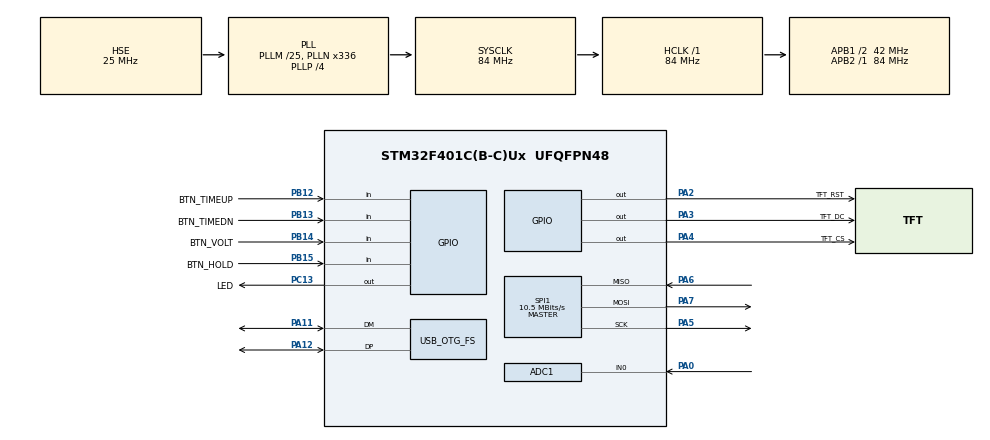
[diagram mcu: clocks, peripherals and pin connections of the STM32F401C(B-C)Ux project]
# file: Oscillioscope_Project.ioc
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ADC1.Channel-0\#ChannelRegularConversion=ADC_CHANNEL_0
ADC1.ContinuousConvMode=DISABLE
ADC1.DMAContinuousRequests=ENABLE
ADC1.ExternalTrigConv=ADC_EXTERNALTRIGCONV_T2_TRGO
ADC1.NbrOfConversionFlag=1
ADC1.Rank-0\#ChannelRegularConversion=1
ADC1.SamplingTime-0\#ChannelRegularConversion=ADC_SAMPLETIME_84CYCLES
ADC1.master=1
Dma.ADC1.0.Direction=DMA_PERIPH_TO_MEMORY
Dma.ADC1.0.FIFOMode=DMA_FIFOMODE_DISABLE
Dma.ADC1.0.Instance=DMA2_Stream0
Dma.ADC1.0.MemDataAlignment=DMA_MDATAALIGN_HALFWORD
Dma.ADC1.0.MemInc=DMA_MINC_ENABLE
Dma.ADC1.0.Mode=DMA_CIRCULAR
Dma.ADC1.0.PeriphDataAlignment=DMA_PDATAALIGN_HALFWORD
Dma.ADC1.0.PeriphInc=DMA_PINC_DISABLE
Dma.ADC1.0.Priority=DMA_PRIORITY_LOW
Dma.Request0=ADC1
Mcu.Family=STM32F4
Mcu.Name=STM32F401C(B-C)Ux
Mcu.Package=UFQFPN48
NVIC.DMA2_Stream0_IRQn=true\:0\:0\:false\:false\:true\:false\:true\:true
NVIC.OTG_FS_IRQn=true\:0\:0\:false\:false\:true\:false\:true\:true
NVIC.PriorityGroup=NVIC_PRIORITYGROUP_4
PA0-WKUP.Signal=ADCx_IN0
PA11.Mode=Device_Only
PA11.Signal=USB_OTG_FS_DM
PA12.Mode=Device_Only
PA12.Signal=USB_OTG_FS_DP
PA13.Mode=Serial_Wire
PA13.Signal=SYS_JTMS-SWDIO
PA14.Mode=Serial_Wire
PA14.Signal=SYS_JTCK-SWCLK
PA2.GPIO_Label=TFT_RST
PA2.PinState=GPIO_PIN_RESET
PA2.Signal=GPIO_Output
PA3.GPIO_Label=TFT_DC
PA3.Signal=GPIO_Output
PA4.GPIO_Label=TFT_CS
PA4.Signal=GPIO_Output
PA5.Mode=Full_Duplex_Master
PA5.Signal=SPI1_SCK
PA6.Mode=Full_Duplex_Master
PA6.Signal=SPI1_MISO
PA7.Mode=Full_Duplex_Master
PA7.Signal=SPI1_MOSI
PB12.GPIO_Label=BTN_TIMEUP
PB12.GPIO_PuPd=GPIO_PULLUP
PB12.Signal=GPIO_Input
PB13.GPIO_Label=BTN_TIMEDN
PB13.GPIO_PuPd=GPIO_PULLUP
PB13.Signal=GPIO_Input
PB14.GPIO_Label=BTN_VOLT
PB14.GPIO_PuPd=GPIO_PULLUP
PB14.Signal=GPIO_Input
PB15.GPIO_Label=BTN_HOLD
PB15.GPIO_PuPd=GPIO_PULLUP
PB15.Signal=GPIO_Input
PC13-ANTI_TAMP.GPIO_Label=LED
PC13-ANTI_TAMP.Signal=GPIO_Output
PH0\ -\ OSC_IN.Mode=HSE-External-Oscillator
PH0\ -\ OSC_IN.Signal=RCC_OSC_IN
PH1\ -\ OSC_OUT.Mode=HSE-External-Oscillator
PH1\ -\ OSC_OUT.Signal=RCC_OSC_OUT
ProjectManager.HeapSize=0x200
ProjectManager.StackSize=0x400
ProjectManager.TargetToolchain=STM32CubeIDE
RCC.48MHZClocksFreq_Value=48000000
RCC.AHBFreq_Value=84000000
RCC.APB1CLKDivider=RCC_HCLK_DIV2
RCC.APB1Freq_Value=42000000
RCC.APB1TimFreq_Value=84000000
RCC.APB2Freq_Value=84000000
RCC.APB2TimFreq_Value=84000000
RCC.CortexFreq_Value=84000000
RCC.HCLKFreq_Value=84000000
RCC.HSE_VALUE=25000000
RCC.HSI_VALUE=16000000
RCC.LSE_VALUE=32768
RCC.PLLM=25
RCC.PLLN=336
RCC.PLLP=RCC_PLLP_DIV4
RCC.PLLQ=7
RCC.SYSCLKFreq_VALUE=84000000
RCC.SYSCLKSource=RCC_SYSCLKSOURCE_PLLCLK
RCC.VCOOutputFreq_Value=336000000
SH.ADCx_IN0.0=ADC1_IN0,IN0
SPI1.BaudRatePrescaler=SPI_BAUDRATEPRESCALER_8
SPI1.CalculateBaudRate=10.5 MBits/s
SPI1.Direction=SPI_DIRECTION_2LINES
SPI1.Mode=SPI_MODE_MASTER
SPI1.VirtualType=VM_MASTER
TIM2.TIM_MasterOutputTrigger=TIM_TRGO_UPDATE
USB_DEVICE.CLASS_NAME_FS=CDC
USB_DEVICE.VirtualMode=Cdc
USB_DEVICE.VirtualModeFS=Cdc_FS
USB_OTG_FS.VirtualMode=Device_Only
VP_TIM2_VS_ClockSourceINT.Mode=Internal
VP_USB_DEVICE_VS_USB_DEVICE_CDC_FS.Mode=CDC_FS
board=custom

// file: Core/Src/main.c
/* USER CODE BEGIN Header */
/**
  ******************************************************************************
  * @file           : main.c
  * @brief          : Main program body
  ******************************************************************************
  */
/* USER CODE END Header */
#include "main.h"
#include "usb_device.h"

/* USER CODE BEGIN Includes */
#include "st7789.h"
#include "dso.h"
#include "dso_ui.h"   /* NEW: menu / analyzer / signal-memory front-end */
/* USER CODE END Includes */

ADC_HandleTypeDef hadc1;
DMA_HandleTypeDef hdma_adc1;

SPI_HandleTypeDef hspi1;

TIM_HandleTypeDef htim2;

/* USER CODE BEGIN PV */
#include "usbd_cdc_if.h"
static dso_t g_dso;
uint32_t last_blink = 0;
static uint8_t  usb_pkt[96 + SAMPLE_COUNT * 2];  /* 96-byte header + 640 sample bytes */
static uint32_t usb_last_tx = 0;
/* USER CODE END PV */

void SystemClock_Config(void);
static void MX_GPIO_Init(void);
static void MX_DMA_Init(void);
static void MX_ADC1_Init(void);
static void MX_SPI1_Init(void);
static void MX_TIM2_Init(void);

/* USER CODE BEGIN 0 */
/* ============================================================================
 * HAL ADC DMA callbacks  (forward to engine)
 * ============================================================================
 */
void HAL_ADC_ConvHalfCpltCallback(ADC_HandleTypeDef *hadc) {
    if (hadc->Instance == ADC1) DSO_OnDMA_HalfComplete(&g_dso);
}

void HAL_ADC_ConvCpltCallback(ADC_HandleTypeDef *hadc) {
    if (hadc->Instance == ADC1) DSO_OnDMA_FullComplete(&g_dso);
}
/* USER CODE END 0 */

int main(void)
{

  /* MCU Configuration--------------------------------------------------------*/

  /* Reset of all peripherals, Initializes the Flash interface and the Systick. */
  HAL_Init();

  /* Configure the system clock */
  SystemClock_Config();

  /* Initialize all configured peripherals */
  MX_GPIO_Init();
  MX_DMA_Init();
  MX_ADC1_Init();
  MX_SPI1_Init();
  MX_TIM2_Init();
  MX_USB_DEVICE_Init();
  /* USER CODE BEGIN 2 */
  /* Status LED on -- blinks once we're rendering */
  HAL_GPIO_WritePin(LED_GPIO_Port, LED_Pin, GPIO_PIN_RESET);

  /* TFT Initialization */
  ST7789_Init(&hspi1);
  ST7789_FillScreen(COLOR_BLACK);
  ST7789_DrawString(40, 70, "AAST DSO booting...", COLOR_YELLOW, COLOR_BLACK, 2);

  /* Give the host ~1.5 s to enumerate the USB CDC port before we start
   * spamming packets at 20 Hz.  Otherwise the first few frames are lost. */
  HAL_Delay(1500);

  /* DSO engine Initialization */
  DSO_Init(&g_dso, &hadc1, &htim2, &hspi1);
  DSO_Start(&g_dso);
  /* NEW: bring up the button-navigated menu first.  DSO_UI_Init draws the
   * menu screen itself, so the old boot-time DSO_RedrawStaticUI() call is no
   * longer needed here -- the UI module redraws the scope when you enter it. */
  DSO_UI_Init(&g_dso);
  /* USER CODE END 2 */

  /* Infinite loop */
  /* USER CODE BEGIN WHILE */
    while (1)
    {
  	  /* AGGRESSIVE CRASH FIX: If the ADC panics, fully restart the DMA */
  	   if (__HAL_ADC_GET_FLAG(&hadc1, ADC_FLAG_OVR)) {
  		 HAL_ADC_Stop_DMA(&hadc1);
  		 HAL_ADC_Stop(&hadc1);

  		 __HAL_ADC_CLEAR_FLAG(&hadc1, ADC_FLAG_OVR);

  		 HAL_ADC_Start_DMA(&hadc1, (uint32_t *)g_dso.buf_a, SAMPLE_COUNT);
  	        }

        /* NEW: single entry point that runs the menu / analysis / memory
         * state machine.  In Live Scope mode it calls the original
         * DSO_PollButtons() + DSO_ProcessFrame() internally, unchanged. */
        DSO_UI_Task(&g_dso);

        uint32_t now = HAL_GetTick();
        if (now - last_blink > 500) {
            HAL_GPIO_TogglePin(LED_GPIO_Port, LED_Pin);
            last_blink = now;
        }

        /* USB Transmission Block (~20 packets / second).
         * Packet layout (fixed total = 96 header bytes + 640 sample bytes):
         *   bytes [0..95]   : ASCII "DSO,vmax,vmin,vpp,vavg,vrms,freq,period\n"
         *                     padded with spaces to exactly 96 bytes.
         *   bytes [96..735] : 320 raw ADC samples, little-endian uint16.
         * Total = 736 bytes per packet -- always identical so the Python
         * viewer can sync on the "DSO," header and read a fixed run.
         */
        if (now - usb_last_tx >= 50) {
            usb_last_tx = now;
            int n = snprintf((char *)usb_pkt, 96,
                "DSO,%ld,%ld,%ld,%ld,%ld,%lu,%lu\n",
                (long)g_dso.meas.vmax_mv,  (long)g_dso.meas.vmin_mv,
                (long)g_dso.meas.vpp_mv,   (long)g_dso.meas.vavg_mv,
                (long)g_dso.meas.vrms_mv,
                (unsigned long)g_dso.meas.freq_hz,
                (unsigned long)g_dso.meas.period_us);
            /* Pad the header region to exactly 96 bytes with spaces. */
            if (n < 0) n = 0;
            if (n > 95) n = 95;
            for (int k = n; k < 95; ++k) usb_pkt[k] = ' ';
            usb_pkt[95] = '\n';

            /* Append the 320 raw ADC samples (640 bytes). */
            const uint16_t *buf = (const uint16_t *)g_dso.buf_b;
            memcpy(&usb_pkt[96], buf, SAMPLE_COUNT * 2);

            /* Only send if USB driver is idle -- prevents overrun freezes. */
            (void)CDC_Transmit_FS(usb_pkt, 96 + SAMPLE_COUNT * 2);
        }
    /* USER CODE END WHILE */

    }
}

void SystemClock_Config(void)
{
  RCC_OscInitTypeDef RCC_OscInitStruct = {0};
  RCC_ClkInitTypeDef RCC_ClkInitStruct = {0};

  /** Configure the main internal regulator output voltage
  */
  __HAL_RCC_PWR_CLK_ENABLE();
  __HAL_PWR_VOLTAGESCALING_CONFIG(PWR_REGULATOR_VOLTAGE_SCALE2);

  /** Initializes the RCC Oscillators according to the specified parameters
  * in the RCC_OscInitTypeDef structure.
  */
  RCC_OscInitStruct.OscillatorType = RCC_OSCILLATORTYPE_HSE;
  RCC_OscInitStruct.HSEState = RCC_HSE_ON;
  RCC_OscInitStruct.PLL.PLLState = RCC_PLL_ON;
  RCC_OscInitStruct.PLL.PLLSource = RCC_PLLSOURCE_HSE;
  RCC_OscInitStruct.PLL.PLLM = 25;
  RCC_OscInitStruct.PLL.PLLN = 336;
  RCC_OscInitStruct.PLL.PLLP = RCC_PLLP_DIV4;
  RCC_OscInitStruct.PLL.PLLQ = 7;
  if (HAL_RCC_OscConfig(&RCC_OscInitStruct) != HAL_OK)
  {
    Error_Handler();
  }

  /** Initializes the CPU, AHB and APB buses clocks
  */
  RCC_ClkInitStruct.ClockType = RCC_CLOCKTYPE_HCLK|RCC_CLOCKTYPE_SYSCLK
                              |RCC_CLOCKTYPE_PCLK1|RCC_CLOCKTYPE_PCLK2;
  RCC_ClkInitStruct.SYSCLKSource = RCC_SYSCLKSOURCE_PLLCLK;
  RCC_ClkInitStruct.AHBCLKDivider = RCC_SYSCLK_DIV1;
  RCC_ClkInitStruct.APB1CLKDivider = RCC_HCLK_DIV2;
  RCC_ClkInitStruct.APB2CLKDivider = RCC_HCLK_DIV1;

  if (HAL_RCC_ClockConfig(&RCC_ClkInitStruct, FLASH_LATENCY_2) != HAL_OK)
  {
    Error_Handler();
  }
}

static void MX_ADC1_Init(void)
{

  ADC_ChannelConfTypeDef sConfig = {0};

  /** Configure the global features of the ADC (Clock, Resolution, Data Alignment and number of conversion)
  */
  hadc1.Instance = ADC1;
  hadc1.Init.ClockPrescaler = ADC_CLOCK_SYNC_PCLK_DIV4;
  hadc1.Init.Resolution = ADC_RESOLUTION_12B;
  hadc1.Init.ScanConvMode = DISABLE;
  hadc1.Init.ContinuousConvMode = DISABLE;
  hadc1.Init.DiscontinuousConvMode = DISABLE;
  hadc1.Init.ExternalTrigConvEdge = ADC_EXTERNALTRIGCONVEDGE_RISING;
  hadc1.Init.ExternalTrigConv = ADC_EXTERNALTRIGCONV_T2_TRGO;
  hadc1.Init.DataAlign = ADC_DATAALIGN_RIGHT;
  hadc1.Init.NbrOfConversion = 1;
  hadc1.Init.DMAContinuousRequests = ENABLE;
  hadc1.Init.EOCSelection = ADC_EOC_SINGLE_CONV;
  if (HAL_ADC_Init(&hadc1) != HAL_OK)
  {
    Error_Handler();
  }

  /** Configure for the selected ADC regular channel its corresponding rank in the sequencer and its sample time.
  */
  sConfig.Channel = ADC_CHANNEL_0;
  sConfig.Rank = 1;
  sConfig.SamplingTime = ADC_SAMPLETIME_84CYCLES;
  if (HAL_ADC_ConfigChannel(&hadc1, &sConfig) != HAL_OK)
  {
    Error_Handler();
  }

}

static void MX_SPI1_Init(void)
{

  /* SPI1 parameter configuration*/
  hspi1.Instance = SPI1;
  hspi1.Init.Mode = SPI_MODE_MASTER;
  hspi1.Init.Direction = SPI_DIRECTION_2LINES;
  hspi1.Init.DataSize = SPI_DATASIZE_8BIT;
  hspi1.Init.CLKPolarity = SPI_POLARITY_LOW;
  hspi1.Init.CLKPhase = SPI_PHASE_1EDGE;
  hspi1.Init.NSS = SPI_NSS_SOFT;
  hspi1.Init.BaudRatePrescaler = SPI_BAUDRATEPRESCALER_8;
  hspi1.Init.FirstBit = SPI_FIRSTBIT_MSB;
  hspi1.Init.TIMode = SPI_TIMODE_DISABLE;
  hspi1.Init.CRCCalculation = SPI_CRCCALCULATION_DISABLE;
  hspi1.Init.CRCPolynomial = 10;
  if (HAL_SPI_Init(&hspi1) != HAL_OK)
  {
    Error_Handler();
  }

}

static void MX_TIM2_Init(void)
{

  TIM_ClockConfigTypeDef sClockSourceConfig = {0};
  TIM_MasterConfigTypeDef sMasterConfig = {0};

  htim2.Instance = TIM2;
  htim2.Init.Prescaler = 0;
  htim2.Init.CounterMode = TIM_COUNTERMODE_UP;
  htim2.Init.Period = 4294967295;
  htim2.Init.ClockDivision = TIM_CLOCKDIVISION_DIV1;
  htim2.Init.AutoReloadPreload = TIM_AUTORELOAD_PRELOAD_DISABLE;
  if (HAL_TIM_Base_Init(&htim2) != HAL_OK)
  {
    Error_Handler();
  }
  sClockSourceConfig.ClockSource = TIM_CLOCKSOURCE_INTERNAL;
  if (HAL_TIM_ConfigClockSource(&htim2, &sClockSourceConfig) != HAL_OK)
  {
    Error_Handler();
  }
  sMasterConfig.MasterOutputTrigger = TIM_TRGO_UPDATE;
  sMasterConfig.MasterSlaveMode = TIM_MASTERSLAVEMODE_DISABLE;
  if (HAL_TIMEx_MasterConfigSynchronization(&htim2, &sMasterConfig) != HAL_OK)
  {
    Error_Handler();
  }

}

static void MX_DMA_Init(void)
{

  /* DMA controller clock enable */
  __HAL_RCC_DMA2_CLK_ENABLE();

  /* DMA interrupt init */
  /* DMA2_Stream0_IRQn interrupt configuration */
  HAL_NVIC_SetPriority(DMA2_Stream0_IRQn, 0, 0);
  HAL_NVIC_EnableIRQ(DMA2_Stream0_IRQn);

}

static void MX_GPIO_Init(void)
{
  GPIO_InitTypeDef GPIO_InitStruct = {0};

  /* GPIO Ports Clock Enable */
  __HAL_RCC_GPIOC_CLK_ENABLE();
  __HAL_RCC_GPIOH_CLK_ENABLE();
  __HAL_RCC_GPIOA_CLK_ENABLE();
  __HAL_RCC_GPIOB_CLK_ENABLE();

  /*Configure GPIO pin Output Level */
  HAL_GPIO_WritePin(LED_GPIO_Port, LED_Pin, GPIO_PIN_RESET);

  /*Configure GPIO pin Output Level */
  HAL_GPIO_WritePin(GPIOA, TFT_RST_Pin|TFT_DC_Pin|TFT_CS_Pin, GPIO_PIN_RESET);

  /*Configure GPIO pin : LED_Pin */
  GPIO_InitStruct.Pin = LED_Pin;
  GPIO_InitStruct.Mode = GPIO_MODE_OUTPUT_PP;
  GPIO_InitStruct.Pull = GPIO_NOPULL;
  GPIO_InitStruct.Speed = GPIO_SPEED_FREQ_LOW;
  HAL_GPIO_Init(LED_GPIO_Port, &GPIO_InitStruct);

  /*Configure GPIO pins : TFT_RST_Pin TFT_DC_Pin TFT_CS_Pin */
  GPIO_InitStruct.Pin = TFT_RST_Pin|TFT_DC_Pin|TFT_CS_Pin;
  GPIO_InitStruct.Mode = GPIO_MODE_OUTPUT_PP;
  GPIO_InitStruct.Pull = GPIO_NOPULL;
  GPIO_InitStruct.Speed = GPIO_SPEED_FREQ_LOW;
  HAL_GPIO_Init(GPIOA, &GPIO_InitStruct);

  /*Configure GPIO pins : BTN_TIMEUP_Pin BTN_TIMEDN_Pin BTN_VOLT_Pin BTN_HOLD_Pin */
  GPIO_InitStruct.Pin = BTN_TIMEUP_Pin|BTN_TIMEDN_Pin|BTN_VOLT_Pin|BTN_HOLD_Pin;
  GPIO_InitStruct.Mode = GPIO_MODE_INPUT;
  GPIO_InitStruct.Pull = GPIO_PULLUP;
  HAL_GPIO_Init(GPIOB, &GPIO_InitStruct);

}

void Error_Handler(void)
{
  __disable_irq();
  while (1)
  {
  }
}
